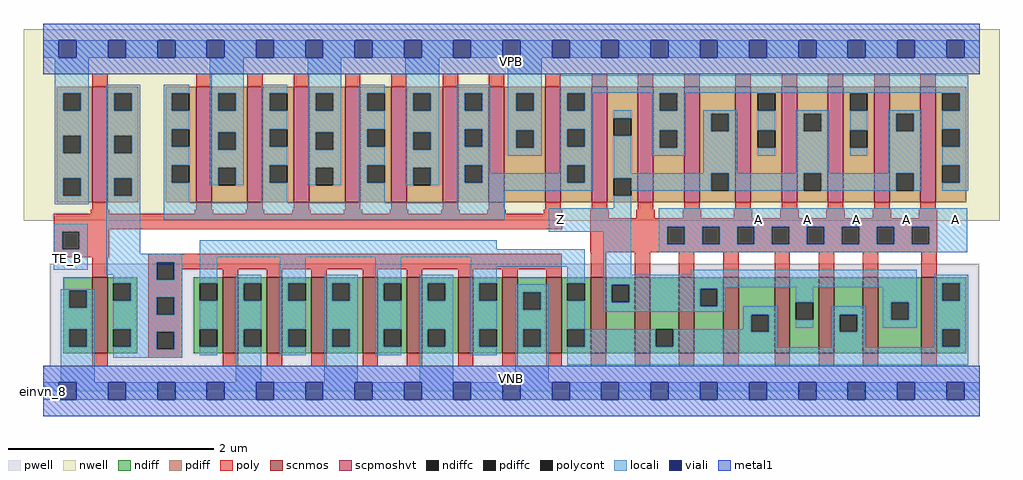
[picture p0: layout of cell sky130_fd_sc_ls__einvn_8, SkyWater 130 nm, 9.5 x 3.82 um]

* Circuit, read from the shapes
.subckt sky130_fd_sc_ls__einvn_8 A TE_B VGND VNB VPB VPWR Z
XM1 n1 TE_B VGND VNB sky130_fd_pr__nfet_01v8 w=0.74 l=0.15
XM2 VGND n1 n2 VNB sky130_fd_pr__nfet_01v8 w=0.74 l=0.15 m=8
XM3 Z A n2 VNB sky130_fd_pr__nfet_01v8 w=0.74 l=0.15 m=8
XM4 n1 TE_B VPWR VPB sky130_fd_pr__pfet_01v8_hvt w=1.12 l=0.15
XM5 VPWR TE_B n3 VPB sky130_fd_pr__pfet_01v8_hvt w=1.12 l=0.15 m=8
XM6 Z A n3 VPB sky130_fd_pr__pfet_01v8_hvt w=1.12 l=0.15 m=8
.ends

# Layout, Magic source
magic
tech sky130A
magscale 1 2
<< nwell >>
rect -38 332 1862 704
<< pwell >>
rect 13 49 1823 248
rect 0 0 1824 49
<< scnmos >>
rect 96 74 126 222
rect 350 74 380 222
rect 436 74 466 222
rect 522 74 552 222
rect 622 74 652 222
rect 708 74 738 222
rect 808 74 838 222
rect 894 74 924 222
rect 980 74 1010 222
rect 1066 74 1096 222
rect 1152 74 1182 222
rect 1238 74 1268 222
rect 1324 74 1354 222
rect 1424 74 1454 222
rect 1510 74 1540 222
rect 1596 74 1626 222
rect 1710 74 1740 222
<< scpmoshvt >>
rect 96 368 126 592
rect 298 368 328 592
rect 398 368 428 592
rect 488 368 518 592
rect 588 368 618 592
rect 678 368 708 592
rect 778 368 808 592
rect 868 368 898 592
rect 978 368 1008 592
rect 1068 368 1098 592
rect 1158 368 1188 592
rect 1248 368 1278 592
rect 1348 368 1378 592
rect 1438 368 1468 592
rect 1528 368 1558 592
rect 1618 368 1648 592
rect 1708 368 1738 592
<< ndiff >>
rect 39 196 96 222
rect 39 162 51 196
rect 85 162 96 196
rect 39 120 96 162
rect 39 86 51 120
rect 85 86 96 120
rect 39 74 96 86
rect 126 210 183 222
rect 126 176 137 210
rect 171 176 183 210
rect 126 120 183 176
rect 126 86 137 120
rect 171 86 183 120
rect 126 74 183 86
rect 293 210 350 222
rect 293 176 305 210
rect 339 176 350 210
rect 293 120 350 176
rect 293 86 305 120
rect 339 86 350 120
rect 293 74 350 86
rect 380 210 436 222
rect 380 176 391 210
rect 425 176 436 210
rect 380 120 436 176
rect 380 86 391 120
rect 425 86 436 120
rect 380 74 436 86
rect 466 210 522 222
rect 466 176 477 210
rect 511 176 522 210
rect 466 120 522 176
rect 466 86 477 120
rect 511 86 522 120
rect 466 74 522 86
rect 552 210 622 222
rect 552 176 563 210
rect 597 176 622 210
rect 552 120 622 176
rect 552 86 563 120
rect 597 86 622 120
rect 552 74 622 86
rect 652 210 708 222
rect 652 176 663 210
rect 697 176 708 210
rect 652 120 708 176
rect 652 86 663 120
rect 697 86 708 120
rect 652 74 708 86
rect 738 210 808 222
rect 738 176 749 210
rect 783 176 808 210
rect 738 120 808 176
rect 738 86 749 120
rect 783 86 808 120
rect 738 74 808 86
rect 838 210 894 222
rect 838 176 849 210
rect 883 176 894 210
rect 838 120 894 176
rect 838 86 849 120
rect 883 86 894 120
rect 838 74 894 86
rect 924 192 980 222
rect 924 158 935 192
rect 969 158 980 192
rect 924 120 980 158
rect 924 86 935 120
rect 969 86 980 120
rect 924 74 980 86
rect 1010 210 1066 222
rect 1010 176 1021 210
rect 1055 176 1066 210
rect 1010 120 1066 176
rect 1010 86 1021 120
rect 1055 86 1066 120
rect 1010 74 1066 86
rect 1096 207 1152 222
rect 1096 173 1107 207
rect 1141 173 1152 207
rect 1096 74 1152 173
rect 1182 120 1238 222
rect 1182 86 1193 120
rect 1227 86 1238 120
rect 1182 74 1238 86
rect 1268 199 1324 222
rect 1268 165 1279 199
rect 1313 165 1324 199
rect 1268 74 1324 165
rect 1354 149 1424 222
rect 1354 115 1379 149
rect 1413 115 1424 149
rect 1354 74 1424 115
rect 1454 173 1510 222
rect 1454 139 1465 173
rect 1499 139 1510 173
rect 1454 74 1510 139
rect 1540 149 1596 222
rect 1540 115 1551 149
rect 1585 115 1596 149
rect 1540 74 1596 115
rect 1626 173 1710 222
rect 1626 139 1651 173
rect 1685 139 1710 173
rect 1626 74 1710 139
rect 1740 210 1797 222
rect 1740 176 1751 210
rect 1785 176 1797 210
rect 1740 120 1797 176
rect 1740 86 1751 120
rect 1785 86 1797 120
rect 1740 74 1797 86
<< pdiff >>
rect 27 580 96 592
rect 27 546 39 580
rect 73 546 96 580
rect 27 497 96 546
rect 27 463 39 497
rect 73 463 96 497
rect 27 414 96 463
rect 27 380 39 414
rect 73 380 96 414
rect 27 368 96 380
rect 126 580 185 592
rect 126 546 139 580
rect 173 546 185 580
rect 126 497 185 546
rect 126 463 139 497
rect 173 463 185 497
rect 126 414 185 463
rect 126 380 139 414
rect 173 380 185 414
rect 126 368 185 380
rect 239 580 298 592
rect 239 546 251 580
rect 285 546 298 580
rect 239 510 298 546
rect 239 476 251 510
rect 285 476 298 510
rect 239 440 298 476
rect 239 406 251 440
rect 285 406 298 440
rect 239 368 298 406
rect 328 580 398 592
rect 328 546 341 580
rect 375 546 398 580
rect 328 504 398 546
rect 328 470 341 504
rect 375 470 398 504
rect 328 435 398 470
rect 328 401 341 435
rect 375 401 398 435
rect 328 368 398 401
rect 428 580 488 592
rect 428 546 441 580
rect 475 546 488 580
rect 428 510 488 546
rect 428 476 441 510
rect 475 476 488 510
rect 428 440 488 476
rect 428 406 441 440
rect 475 406 488 440
rect 428 368 488 406
rect 518 580 588 592
rect 518 546 531 580
rect 565 546 588 580
rect 518 504 588 546
rect 518 470 531 504
rect 565 470 588 504
rect 518 435 588 470
rect 518 401 531 435
rect 565 401 588 435
rect 518 368 588 401
rect 618 580 678 592
rect 618 546 631 580
rect 665 546 678 580
rect 618 510 678 546
rect 618 476 631 510
rect 665 476 678 510
rect 618 440 678 476
rect 618 406 631 440
rect 665 406 678 440
rect 618 368 678 406
rect 708 580 778 592
rect 708 546 721 580
rect 755 546 778 580
rect 708 504 778 546
rect 708 470 721 504
rect 755 470 778 504
rect 708 435 778 470
rect 708 401 721 435
rect 755 401 778 435
rect 708 368 778 401
rect 808 580 868 592
rect 808 546 821 580
rect 855 546 868 580
rect 808 510 868 546
rect 808 476 821 510
rect 855 476 868 510
rect 808 440 868 476
rect 808 406 821 440
rect 855 406 868 440
rect 808 368 868 406
rect 898 580 978 592
rect 898 546 921 580
rect 955 546 978 580
rect 898 508 978 546
rect 898 474 921 508
rect 955 474 978 508
rect 898 368 978 474
rect 1008 580 1068 592
rect 1008 546 1021 580
rect 1055 546 1068 580
rect 1008 510 1068 546
rect 1008 476 1021 510
rect 1055 476 1068 510
rect 1008 440 1068 476
rect 1008 406 1021 440
rect 1055 406 1068 440
rect 1008 368 1068 406
rect 1098 531 1158 592
rect 1098 497 1111 531
rect 1145 497 1158 531
rect 1098 414 1158 497
rect 1098 380 1111 414
rect 1145 380 1158 414
rect 1098 368 1158 380
rect 1188 580 1248 592
rect 1188 546 1201 580
rect 1235 546 1248 580
rect 1188 508 1248 546
rect 1188 474 1201 508
rect 1235 474 1248 508
rect 1188 368 1248 474
rect 1278 540 1348 592
rect 1278 506 1301 540
rect 1335 506 1348 540
rect 1278 424 1348 506
rect 1278 390 1301 424
rect 1335 390 1348 424
rect 1278 368 1348 390
rect 1378 580 1438 592
rect 1378 546 1391 580
rect 1425 546 1438 580
rect 1378 508 1438 546
rect 1378 474 1391 508
rect 1425 474 1438 508
rect 1378 368 1438 474
rect 1468 540 1528 592
rect 1468 506 1481 540
rect 1515 506 1528 540
rect 1468 424 1528 506
rect 1468 390 1481 424
rect 1515 390 1528 424
rect 1468 368 1528 390
rect 1558 580 1618 592
rect 1558 546 1571 580
rect 1605 546 1618 580
rect 1558 508 1618 546
rect 1558 474 1571 508
rect 1605 474 1618 508
rect 1558 368 1618 474
rect 1648 540 1708 592
rect 1648 506 1661 540
rect 1695 506 1708 540
rect 1648 424 1708 506
rect 1648 390 1661 424
rect 1695 390 1708 424
rect 1648 368 1708 390
rect 1738 580 1797 592
rect 1738 546 1751 580
rect 1785 546 1797 580
rect 1738 510 1797 546
rect 1738 476 1751 510
rect 1785 476 1797 510
rect 1738 440 1797 476
rect 1738 406 1751 440
rect 1785 406 1797 440
rect 1738 368 1797 406
<< ndiffc >>
rect 51 162 85 196
rect 51 86 85 120
rect 137 176 171 210
rect 137 86 171 120
rect 305 176 339 210
rect 305 86 339 120
rect 391 176 425 210
rect 391 86 425 120
rect 477 176 511 210
rect 477 86 511 120
rect 563 176 597 210
rect 563 86 597 120
rect 663 176 697 210
rect 663 86 697 120
rect 749 176 783 210
rect 749 86 783 120
rect 849 176 883 210
rect 849 86 883 120
rect 935 158 969 192
rect 935 86 969 120
rect 1021 176 1055 210
rect 1021 86 1055 120
rect 1107 173 1141 207
rect 1193 86 1227 120
rect 1279 165 1313 199
rect 1379 115 1413 149
rect 1465 139 1499 173
rect 1551 115 1585 149
rect 1651 139 1685 173
rect 1751 176 1785 210
rect 1751 86 1785 120
<< pdiffc >>
rect 39 546 73 580
rect 39 463 73 497
rect 39 380 73 414
rect 139 546 173 580
rect 139 463 173 497
rect 139 380 173 414
rect 251 546 285 580
rect 251 476 285 510
rect 251 406 285 440
rect 341 546 375 580
rect 341 470 375 504
rect 341 401 375 435
rect 441 546 475 580
rect 441 476 475 510
rect 441 406 475 440
rect 531 546 565 580
rect 531 470 565 504
rect 531 401 565 435
rect 631 546 665 580
rect 631 476 665 510
rect 631 406 665 440
rect 721 546 755 580
rect 721 470 755 504
rect 721 401 755 435
rect 821 546 855 580
rect 821 476 855 510
rect 821 406 855 440
rect 921 546 955 580
rect 921 474 955 508
rect 1021 546 1055 580
rect 1021 476 1055 510
rect 1021 406 1055 440
rect 1111 497 1145 531
rect 1111 380 1145 414
rect 1201 546 1235 580
rect 1201 474 1235 508
rect 1301 506 1335 540
rect 1301 390 1335 424
rect 1391 546 1425 580
rect 1391 474 1425 508
rect 1481 506 1515 540
rect 1481 390 1515 424
rect 1571 546 1605 580
rect 1571 474 1605 508
rect 1661 506 1695 540
rect 1661 390 1695 424
rect 1751 546 1785 580
rect 1751 476 1785 510
rect 1751 406 1785 440
<< poly >>
rect 96 592 126 618
rect 298 592 328 618
rect 398 592 428 618
rect 488 592 518 618
rect 588 592 618 618
rect 678 592 708 618
rect 778 592 808 618
rect 868 592 898 618
rect 978 592 1008 618
rect 1068 592 1098 618
rect 1158 592 1188 618
rect 1248 592 1278 618
rect 1348 592 1378 618
rect 1438 592 1468 618
rect 1528 592 1558 618
rect 1618 592 1648 618
rect 1708 592 1738 618
rect 96 353 126 368
rect 298 353 328 368
rect 398 353 428 368
rect 488 353 518 368
rect 588 353 618 368
rect 678 353 708 368
rect 778 353 808 368
rect 868 353 898 368
rect 978 353 1008 368
rect 1068 353 1098 368
rect 1158 353 1188 368
rect 1248 353 1278 368
rect 1348 353 1378 368
rect 1438 353 1468 368
rect 1528 353 1558 368
rect 1618 353 1648 368
rect 1708 353 1738 368
rect 93 345 129 353
rect 295 345 331 353
rect 395 345 431 353
rect 485 345 521 353
rect 585 345 621 353
rect 675 345 711 353
rect 775 345 811 353
rect 865 345 901 353
rect 975 345 1011 353
rect 21 315 1011 345
rect 1065 336 1101 353
rect 1155 336 1191 353
rect 1245 336 1281 353
rect 1345 336 1381 353
rect 1435 336 1471 353
rect 1525 336 1561 353
rect 1615 336 1651 353
rect 1705 336 1741 353
rect 1065 320 1741 336
rect 21 310 129 315
rect 21 276 37 310
rect 71 276 129 310
rect 21 260 129 276
rect 1065 286 1215 320
rect 1249 286 1283 320
rect 1317 286 1351 320
rect 1385 286 1419 320
rect 1453 286 1487 320
rect 1521 286 1555 320
rect 1589 286 1623 320
rect 1657 286 1691 320
rect 1725 286 1741 320
rect 1065 270 1741 286
rect 96 222 126 260
rect 205 251 1010 267
rect 205 217 221 251
rect 255 237 1010 251
rect 255 217 271 237
rect 350 222 380 237
rect 436 222 466 237
rect 522 222 552 237
rect 622 222 652 237
rect 708 222 738 237
rect 808 222 838 237
rect 894 222 924 237
rect 980 222 1010 237
rect 1066 222 1096 270
rect 1152 222 1182 270
rect 1238 222 1268 270
rect 1324 222 1354 270
rect 1424 222 1454 270
rect 1510 222 1540 270
rect 1596 222 1626 270
rect 1710 222 1740 270
rect 205 183 271 217
rect 205 149 221 183
rect 255 149 271 183
rect 205 115 271 149
rect 205 81 221 115
rect 255 81 271 115
rect 96 48 126 74
rect 205 65 271 81
rect 350 48 380 74
rect 436 48 466 74
rect 522 48 552 74
rect 622 48 652 74
rect 708 48 738 74
rect 808 48 838 74
rect 894 48 924 74
rect 980 48 1010 74
rect 1066 48 1096 74
rect 1152 48 1182 74
rect 1238 48 1268 74
rect 1324 48 1354 74
rect 1424 48 1454 74
rect 1510 48 1540 74
rect 1596 48 1626 74
rect 1710 48 1740 74
<< polycont >>
rect 37 276 71 310
rect 1215 286 1249 320
rect 1283 286 1317 320
rect 1351 286 1385 320
rect 1419 286 1453 320
rect 1487 286 1521 320
rect 1555 286 1589 320
rect 1623 286 1657 320
rect 1691 286 1725 320
rect 221 217 255 251
rect 221 149 255 183
rect 221 81 255 115
<< locali >>
rect 0 649 31 683
rect 65 649 127 683
rect 161 649 223 683
rect 257 649 319 683
rect 353 649 415 683
rect 449 649 511 683
rect 545 649 607 683
rect 641 649 703 683
rect 737 649 799 683
rect 833 649 895 683
rect 929 649 991 683
rect 1025 649 1087 683
rect 1121 649 1183 683
rect 1217 649 1279 683
rect 1313 649 1375 683
rect 1409 649 1471 683
rect 1505 649 1567 683
rect 1601 649 1663 683
rect 1697 649 1759 683
rect 1793 649 1824 683
rect 23 580 89 649
rect 23 546 39 580
rect 73 546 89 580
rect 23 497 89 546
rect 23 463 39 497
rect 73 463 89 497
rect 23 414 89 463
rect 23 380 39 414
rect 73 380 89 414
rect 23 364 89 380
rect 123 580 189 596
rect 123 546 139 580
rect 173 546 189 580
rect 123 497 189 546
rect 123 463 139 497
rect 173 463 189 497
rect 123 414 189 463
rect 123 380 139 414
rect 173 380 189 414
rect 21 310 87 326
rect 21 276 37 310
rect 71 276 87 310
rect 21 236 87 276
rect 123 267 189 380
rect 235 580 285 596
rect 235 546 251 580
rect 235 510 285 546
rect 235 476 251 510
rect 235 440 285 476
rect 235 406 251 440
rect 235 367 285 406
rect 325 580 391 649
rect 325 546 341 580
rect 375 546 391 580
rect 325 504 391 546
rect 325 470 341 504
rect 375 470 391 504
rect 325 435 391 470
rect 325 401 341 435
rect 375 401 391 435
rect 425 580 475 596
rect 425 546 441 580
rect 425 510 475 546
rect 425 476 441 510
rect 425 440 475 476
rect 425 406 441 440
rect 425 367 475 406
rect 515 580 581 649
rect 515 546 531 580
rect 565 546 581 580
rect 515 504 581 546
rect 515 470 531 504
rect 565 470 581 504
rect 515 435 581 470
rect 515 401 531 435
rect 565 401 581 435
rect 615 580 665 596
rect 615 546 631 580
rect 615 510 665 546
rect 615 476 631 510
rect 615 440 665 476
rect 615 406 631 440
rect 615 367 665 406
rect 705 580 771 649
rect 705 546 721 580
rect 755 546 771 580
rect 705 504 771 546
rect 705 470 721 504
rect 755 470 771 504
rect 705 435 771 470
rect 705 401 721 435
rect 755 401 771 435
rect 805 580 871 596
rect 805 546 821 580
rect 855 546 871 580
rect 805 510 871 546
rect 805 476 821 510
rect 855 476 871 510
rect 805 440 871 476
rect 905 580 971 649
rect 905 546 921 580
rect 955 546 971 580
rect 905 508 971 546
rect 905 474 921 508
rect 955 474 971 508
rect 905 458 971 474
rect 1005 581 1801 615
rect 1005 580 1071 581
rect 1005 546 1021 580
rect 1055 546 1071 580
rect 1185 580 1251 581
rect 1005 510 1071 546
rect 1005 476 1021 510
rect 1055 476 1071 510
rect 805 406 821 440
rect 855 424 871 440
rect 1005 440 1071 476
rect 1005 424 1021 440
rect 855 406 1021 424
rect 1055 406 1071 440
rect 805 390 1071 406
rect 1111 531 1145 547
rect 1111 424 1145 497
rect 1185 546 1201 580
rect 1235 546 1251 580
rect 1391 580 1425 581
rect 1185 508 1251 546
rect 1185 474 1201 508
rect 1235 474 1251 508
rect 1185 458 1251 474
rect 1285 540 1351 547
rect 1285 506 1301 540
rect 1335 506 1351 540
rect 1285 424 1351 506
rect 1571 580 1605 581
rect 1391 508 1425 546
rect 1391 458 1425 474
rect 1465 540 1531 547
rect 1465 506 1481 540
rect 1515 506 1531 540
rect 1465 424 1531 506
rect 1751 580 1801 581
rect 1571 508 1605 546
rect 1571 458 1605 474
rect 1645 540 1711 547
rect 1645 506 1661 540
rect 1695 506 1711 540
rect 1645 424 1711 506
rect 1111 414 1301 424
rect 805 367 899 390
rect 235 333 899 367
rect 1145 390 1301 414
rect 1335 390 1481 424
rect 1515 390 1661 424
rect 1695 390 1711 424
rect 1785 546 1801 580
rect 1751 510 1801 546
rect 1785 476 1801 510
rect 1751 440 1801 476
rect 1785 406 1801 440
rect 1751 390 1801 406
rect 1111 356 1145 380
rect 985 310 1145 356
rect 305 276 883 294
rect 123 251 271 267
rect 123 226 221 251
rect 137 217 221 226
rect 255 217 271 251
rect 137 210 271 217
rect 35 196 101 198
rect 35 162 51 196
rect 85 162 101 196
rect 35 120 101 162
rect 35 86 51 120
rect 85 86 101 120
rect 35 17 101 86
rect 171 183 271 210
rect 171 176 221 183
rect 137 149 221 176
rect 255 149 271 183
rect 137 120 271 149
rect 171 115 271 120
rect 171 86 221 115
rect 137 81 221 86
rect 255 81 271 115
rect 137 65 271 81
rect 305 260 1055 276
rect 305 210 339 260
rect 305 120 339 176
rect 305 70 339 86
rect 375 210 425 226
rect 375 176 391 210
rect 375 120 425 176
rect 375 86 391 120
rect 375 17 425 86
rect 461 210 511 260
rect 461 176 477 210
rect 461 120 511 176
rect 461 86 477 120
rect 461 70 511 86
rect 547 210 613 226
rect 547 176 563 210
rect 597 176 613 210
rect 547 120 613 176
rect 547 86 563 120
rect 597 86 613 120
rect 547 17 613 86
rect 647 210 697 260
rect 833 242 1055 260
rect 647 176 663 210
rect 647 120 697 176
rect 647 86 663 120
rect 647 70 697 86
rect 733 210 799 226
rect 733 176 749 210
rect 783 176 799 210
rect 733 120 799 176
rect 733 86 749 120
rect 783 86 799 120
rect 733 17 799 86
rect 833 210 883 242
rect 833 176 849 210
rect 1021 210 1055 242
rect 833 120 883 176
rect 833 86 849 120
rect 833 70 883 86
rect 919 192 985 208
rect 919 158 935 192
rect 969 158 985 192
rect 919 120 985 158
rect 919 86 935 120
rect 969 86 985 120
rect 919 17 985 86
rect 1021 120 1055 176
rect 1091 226 1145 310
rect 1199 320 1799 356
rect 1199 286 1215 320
rect 1249 286 1283 320
rect 1317 286 1351 320
rect 1385 286 1419 320
rect 1453 286 1487 320
rect 1521 286 1555 320
rect 1589 286 1623 320
rect 1657 286 1691 320
rect 1725 286 1799 320
rect 1199 270 1799 286
rect 1263 226 1701 236
rect 1091 207 1701 226
rect 1091 173 1107 207
rect 1141 202 1701 207
rect 1141 199 1329 202
rect 1141 173 1279 199
rect 1091 165 1279 173
rect 1313 165 1329 199
rect 1465 173 1499 202
rect 1091 154 1329 165
rect 1363 149 1429 165
rect 1363 120 1379 149
rect 1055 86 1193 120
rect 1227 115 1379 120
rect 1413 115 1429 149
rect 1635 173 1701 202
rect 1465 123 1499 139
rect 1535 149 1601 165
rect 1227 86 1429 115
rect 1021 85 1429 86
rect 1535 115 1551 149
rect 1585 115 1601 149
rect 1635 139 1651 173
rect 1685 139 1701 173
rect 1635 123 1701 139
rect 1735 210 1801 226
rect 1735 176 1751 210
rect 1785 176 1801 210
rect 1535 85 1601 115
rect 1735 120 1801 176
rect 1735 86 1751 120
rect 1785 86 1801 120
rect 1735 85 1801 86
rect 1021 51 1801 85
rect 0 -17 31 17
rect 65 -17 127 17
rect 161 -17 223 17
rect 257 -17 319 17
rect 353 -17 415 17
rect 449 -17 511 17
rect 545 -17 607 17
rect 641 -17 703 17
rect 737 -17 799 17
rect 833 -17 895 17
rect 929 -17 991 17
rect 1025 -17 1087 17
rect 1121 -17 1183 17
rect 1217 -17 1279 17
rect 1313 -17 1375 17
rect 1409 -17 1471 17
rect 1505 -17 1567 17
rect 1601 -17 1663 17
rect 1697 -17 1759 17
rect 1793 -17 1824 17
<< viali >>
rect 31 649 65 683
rect 127 649 161 683
rect 223 649 257 683
rect 319 649 353 683
rect 415 649 449 683
rect 511 649 545 683
rect 607 649 641 683
rect 703 649 737 683
rect 799 649 833 683
rect 895 649 929 683
rect 991 649 1025 683
rect 1087 649 1121 683
rect 1183 649 1217 683
rect 1279 649 1313 683
rect 1375 649 1409 683
rect 1471 649 1505 683
rect 1567 649 1601 683
rect 1663 649 1697 683
rect 1759 649 1793 683
rect 31 -17 65 17
rect 127 -17 161 17
rect 223 -17 257 17
rect 319 -17 353 17
rect 415 -17 449 17
rect 511 -17 545 17
rect 607 -17 641 17
rect 703 -17 737 17
rect 799 -17 833 17
rect 895 -17 929 17
rect 991 -17 1025 17
rect 1087 -17 1121 17
rect 1183 -17 1217 17
rect 1279 -17 1313 17
rect 1375 -17 1409 17
rect 1471 -17 1505 17
rect 1567 -17 1601 17
rect 1663 -17 1697 17
rect 1759 -17 1793 17
<< metal1 >>
rect 0 683 1824 715
rect 0 649 31 683
rect 65 649 127 683
rect 161 649 223 683
rect 257 649 319 683
rect 353 649 415 683
rect 449 649 511 683
rect 545 649 607 683
rect 641 649 703 683
rect 737 649 799 683
rect 833 649 895 683
rect 929 649 991 683
rect 1025 649 1087 683
rect 1121 649 1183 683
rect 1217 649 1279 683
rect 1313 649 1375 683
rect 1409 649 1471 683
rect 1505 649 1567 683
rect 1601 649 1663 683
rect 1697 649 1759 683
rect 1793 649 1824 683
rect 0 617 1824 649
rect 0 17 1824 49
rect 0 -17 31 17
rect 65 -17 127 17
rect 161 -17 223 17
rect 257 -17 319 17
rect 353 -17 415 17
rect 449 -17 511 17
rect 545 -17 607 17
rect 641 -17 703 17
rect 737 -17 799 17
rect 833 -17 895 17
rect 929 -17 991 17
rect 1025 -17 1087 17
rect 1121 -17 1183 17
rect 1217 -17 1279 17
rect 1313 -17 1375 17
rect 1409 -17 1471 17
rect 1505 -17 1567 17
rect 1601 -17 1663 17
rect 1697 -17 1759 17
rect 1793 -17 1824 17
rect 0 -49 1824 -17
<< labels >>
rlabel comment s 0 0 0 0 4 einvn_8
flabel pwell s 0 0 1824 49 0 FreeSans 200 0 0 0 VNB
port 4 nsew ground bidirectional
flabel nwell s 0 617 1824 666 0 FreeSans 200 0 0 0 VPB
port 5 nsew power bidirectional
flabel metal1 s 0 617 1824 666 0 FreeSans 340 0 0 0 VPWR
port 6 nsew power bidirectional abutment
flabel metal1 s 0 0 1824 49 0 FreeSans 340 0 0 0 VGND
port 3 nsew ground bidirectional abutment
flabel locali s 1375 316 1409 350 0 FreeSans 340 0 0 0 A
port 1 nsew signal input
flabel locali s 1471 316 1505 350 0 FreeSans 340 0 0 0 A
port 1 nsew signal input
flabel locali s 1567 316 1601 350 0 FreeSans 340 0 0 0 A
port 1 nsew signal input
flabel locali s 1663 316 1697 350 0 FreeSans 340 0 0 0 A
port 1 nsew signal input
flabel locali s 1759 316 1793 350 0 FreeSans 340 0 0 0 A
port 1 nsew signal input
flabel locali s 31 242 65 276 0 FreeSans 340 0 0 0 TE_B
port 2 nsew signal input
flabel locali s 991 316 1025 350 0 FreeSans 340 0 0 0 Z
port 7 nsew signal output
<< properties >>
string LEFsite unit
string LEFclass CORE
string FIXED_BBOX 0 0 1824 666
string GDS_FILE $PDKPATH/libs.ref/sky130_fd_sc_ls/gds/sky130_fd_sc_ls.gds
string LEFsymmetry X Y
string GDS_END 2867504
string GDS_START 2853406
<< end >>
